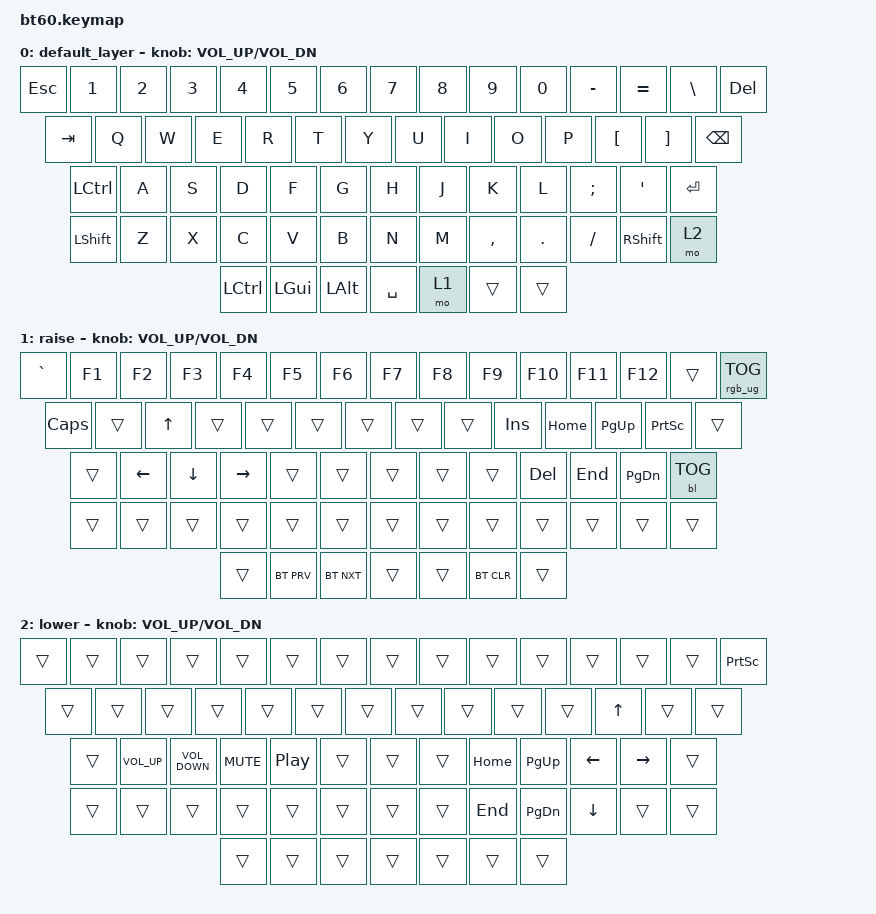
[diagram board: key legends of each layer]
#include <behaviors.dtsi>
#include <dt-bindings/zmk/keys.h>
#include <dt-bindings/zmk/bt.h>
#include <dt-bindings/zmk/rgb.h>
#include <dt-bindings/zmk/backlight.h>

/ {
	keymap {
		compatible = "zmk,keymap";

		default_layer {
				// ------------------------------------------------------------------------------------------
				// |  `  |  1  |  2  |  3  |  4  |  5  |  6  |  7  |  8  |  9  |  0  |  -  |  =  |   BKSP
				// | TAB  |  Q  |  W  |  E  |  R  |  T  |  Y  |  U  |  I  |  O  |  P  |  [  |  ]  |   |
				// | CAPS  |  A  |  S  |  D  |  F  |  G  |  H  |  J  |  K  |  L  |  ;  |  '  |     ENTER
				// |  SHIFT    |  Z  |  X  |  C  |  V  |  B  |  N  |  M  |  ,  |  .  | /   |      SHIFT
				// |  CTL  |  WIN  |  ALT  |            SPACE               | ALT | 1    |  MENU    |  CTRL
				// ------------------------------------------------------------------------------------------
			bindings = <

				&kp ESC &kp N1 &kp N2 &kp N3 &kp N4 &kp N5 &kp N6 &kp N7 &kp  N8   &kp  N9 &kp  N0  &kp MINUS &kp EQUAL &kp BSLH &kp DEL
				&kp TAB  &kp Q  &kp W  &kp E  &kp R  &kp T  &kp Y  &kp U  &kp  I    &kp  O  &kp  P   &kp LBKT &kp RBKT    &kp BSPC
				&kp LCTRL  &kp A  &kp S  &kp D  &kp F  &kp G  &kp H  &kp J  &kp  K    &kp  L  &kp SEMI &kp SQT            &kp RET
				&kp LSHFT  &kp Z  &kp X  &kp C  &kp V  &kp B  &kp N  &kp M  &kp COMMA &kp DOT &kp FSLH                   &kp RSHFT &mo 2
				&kp LCTRL &kp LGUI &kp LALT            &kp SPACE                          &mo 1  &trans  &trans
			>;
			sensor-bindings = <&inc_dec_kp C_VOL_UP C_VOL_DN>;
		};
		raise {
			bindings = <
				&kp GRAVE &kp F1 &kp F2 &kp F3 &kp F4 &kp F5 &kp F6 &kp F7 &kp F8 &kp F9 &kp F10 &kp F11 &kp F12 &trans &rgb_ug RGB_TOG
				&kp CAPS  &trans &kp UP &trans &trans &trans &trans &trans &trans &kp INS &kp HOME &kp PG_UP  &kp PSCRN  &trans
				&trans    &kp LEFT &kp DOWN &kp RIGHT &trans &trans &trans &trans &trans &kp DEL &kp END &kp PG_DN   &bl BL_TOG
				&trans 	&trans &trans &trans &trans &trans &trans &trans &trans &trans &trans  &trans &trans
				&trans  &bt BT_PRV  &bt BT_NXT              &trans                           &trans &bt BT_CLR  &trans
			>;
			sensor-bindings = <&inc_dec_kp C_VOL_UP C_VOL_DN>;
		};
		lower {
			bindings = <
				&trans &trans &trans &trans &trans &trans &trans &trans &trans &trans &trans &trans &trans &trans &kp PSCRN
				&trans &trans &trans &trans &trans &trans &trans &trans &trans &trans &trans &kp UP  &trans  &trans
				&trans   &kp C_VOLUME_UP &kp C_VOLUME_DOWN &kp C_MUTE &kp C_PLAY_PAUSE &trans &trans &trans &kp HOME &kp PG_UP  &kp LEFT  &kp RIGHT  &trans
				&trans 	&trans &trans &trans &trans &trans &trans &trans &kp END &kp PG_DN &kp DOWN &trans &trans
				&trans  &trans  &trans              &trans                           &trans  &trans  &trans
			>;
			sensor-bindings = <&inc_dec_kp C_VOL_UP C_VOL_DN>;
		};
	};
};
